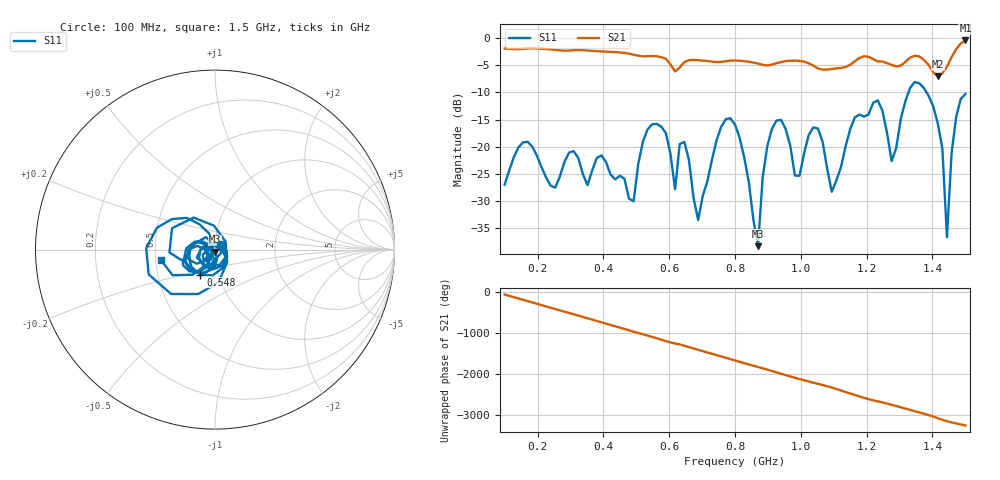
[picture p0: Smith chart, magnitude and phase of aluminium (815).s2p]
! NanoVNA-App
! Date: 2025-09-25 15:01:37
! Start: 100MHz Stop: 1,5GHz Points: 101
! S-Parameter data: F S11 S21 S12 S22
# Hz S RI R 50
!  Frequency  S11_Real  S11_Imag  S21_Real  S21_Imag  S12_Real  S12_Imag  S22_Real  S22_Imag
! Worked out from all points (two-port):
!   101 points, 100 MHz to 1.5 GHz, reference 50 ohm
!   highest |S21| = -0.45 dB at 1.5 GHz (marker M1); lowest = -7.0 dB at 1.416 GHz (marker M2)
!   |S21| within 3 dB of the highest: start of sweep to 570.3 MHz; 1.459 GHz to end of sweep (the widest 2 of 4)
!   lowest |S11| = -38.3 dB at 870 MHz (marker M3), VSWR 1.02, Z = 50 - j1.22 ohm
!   |S11| at or under -10 dB: start of sweep to 1.327 GHz; 1.382 GHz to end of sweep
!   S12 and S22 are empty: the file has one direction only
!   S11 on the Smith chart (normalised r, x): 100 MHz: 1.07, +0.06; 548 MHz: 0.82, -0.23; 1.5 GHz: 0.54, -0.07
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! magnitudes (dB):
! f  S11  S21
! 100 MHz  -27.0  -1.9
! 156 MHz  -19.2  -2.0
! 338 MHz  -25.0  -2.2
! 492 MHz  -30.0  -3.1
! 548 MHz  -15.9  -3.3
! 576 MHz  -16.3  -3.5
! 618 MHz  -27.8  -6.1
! 646 MHz  -19.1  -4.4
! 688 MHz  -33.4  -4.1
! 800 MHz  -15.9  -4.1
! 870 MHz  -38.3  -4.7
! 912 MHz  -16.7  -4.9
! 996 MHz  -25.3  -4.2
! 1.038 GHz  -16.4  -5.1
! 1.094 GHz  -28.3  -5.7
! 1.22 GHz  -11.9  -3.9
! 1.276 GHz  -22.6  -4.9
! 1.346 GHz  -8.1  -3.2
! 1.416 GHz  -15.7  -7.0
! 1.444 GHz  -36.6  -5.3
! 1.472 GHz  -14.5  -2.1
! 1.5 GHz  -10.3  -0.4
